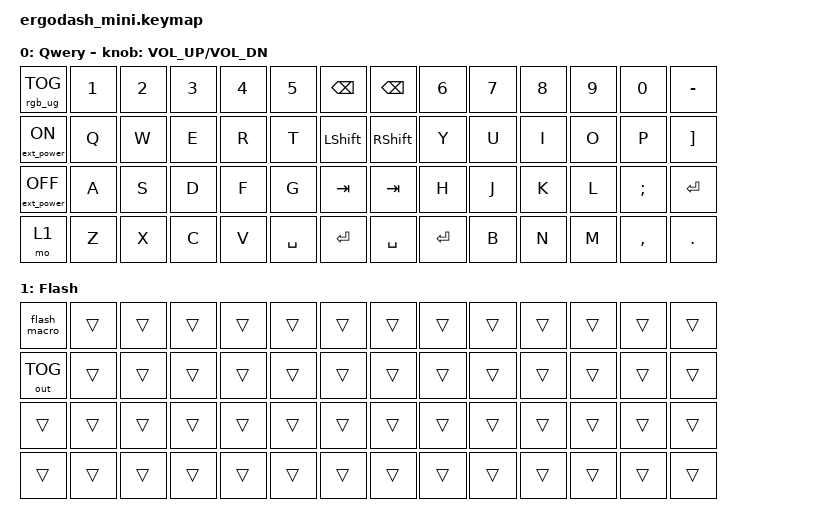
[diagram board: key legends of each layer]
#include <behaviors.dtsi>
#include <dt-bindings/zmk/ext_power.h>
#include <dt-bindings/zmk/keys.h>
#include <dt-bindings/zmk/rgb.h>
#include <dt-bindings/zmk/outputs.h>
/ {
    macros {
        flash_macro: flash_macro {
            compatible = "zmk,behavior-macro";
            #binding-cells = <0>;
            bindings = <&bootloader>;
        };

        layer_s: layer_s {
            label = "layer shift color";
            compatible = "zmk,behavior-macro";
            #binding-cells = <0>;
            wait-ms = <0>;
            tap-ms = <0>;
            bindings =
                <&macro_press>,
                <&kp LSHFT>,
                <&macro_tap>,
                <&rgb_ug RGB_COLOR_HSB(35,100,50)>,
                <&macro_pause_for_release>,
                <&macro_release>,
                <&kp LSHFT>,
                <&macro_tap>,
                <&rgb_ug RGB_COLOR_HSB(240,50,30)>;
        };

        layer_1: layer_1 {
            label = "layer 1";
            compatible = "zmk,behavior-macro";
            #binding-cells = <0>;
            wait-ms = <0>;
            tap-ms = <0>;
            bindings =
                <&macro_press>,
                <&lt 1 END>,
                <&macro_tap>,
                <&rgb_ug RGB_COLOR_HSB(300,100,50)>,
                <&macro_pause_for_release>,
                <&macro_release>,
                <&lt 1 END>,
                <&macro_tap>,
                <&rgb_ug RGB_COLOR_HSB(240,50,30)>;
        };

        layer_2: layer_2 {
            label = "layer 2";
            compatible = "zmk,behavior-macro";
            #binding-cells = <0>;
            wait-ms = <0>;
            tap-ms = <0>;
            bindings =
                <&macro_press>,
                <&mo 2>,
                <&macro_tap>,
                <&rgb_ug RGB_COLOR_HSB(175,100,50)>,
                <&macro_pause_for_release>,
                <&macro_release>,
                <&mo 2>,
                <&macro_tap>,
                <&rgb_ug RGB_COLOR_HSB(240,50,30)>;
        };

        layer_3: layer_3 {
            label = "layer 3";
            compatible = "zmk,behavior-macro";
            #binding-cells = <0>;
            wait-ms = <0>;
            tap-ms = <0>;
            bindings =
                <&macro_press>,
                <&lt 3 DEL>,
                <&macro_tap>,
                <&rgb_ug RGB_COLOR_HSB(0,100,50)>,
                <&macro_pause_for_release>,
                <&macro_release>,
                <&lt 3 DEL>,
                <&macro_tap>,
                <&rgb_ug RGB_COLOR_HSB(240,50,30)>;
        };
    };

    behaviors {
        hm: homerow_mods {
            compatible = "zmk,behavior-hold-tap";
            label = "HOMEROW_MODS";
            bindings = <&kp>, <&kp>;

            #binding-cells = <2>;
            tapping-term-ms = <200>;
            quick-tap-ms = <180>;
            flavor = "tap-preferred";
        };

        ltq: ltq {
            compatible = "zmk,behavior-hold-tap";
            label = "LTQ";
            bindings = <&mo>, <&kp>;

            #binding-cells = <2>;
            tapping-term-ms = <200>;
            quick-tap-ms = <180>;
        };

        as: auto_shift {
            compatible = "zmk,behavior-hold-tap";
            label = "AUTO_SHIFT";
            bindings = <&kp>, <&kp>;

            #binding-cells = <2>;
            tapping-term-ms = <135>;
            quick-tap-ms = <0>;
        };
    };

    keymap {
        compatible = "zmk,keymap";

        Qwery {
            bindings = <
&rgb_ug RGB_TOG    &kp N1  &kp N2  &kp N3  &kp N4  &kp N5     &kp BSPC   &kp BSPC   &kp N6     &kp N7  &kp N8  &kp N9  &kp N0     &kp MINUS
&ext_power EP_ON   &kp Q   &kp W   &kp E   &kp R   &kp T      &kp LSHFT  &kp RSHFT  &kp Y      &kp U   &kp I   &kp O   &kp P      &kp RBKT
&ext_power EP_OFF  &kp A   &kp S   &kp D   &kp F   &kp G      &kp TAB    &kp TAB    &kp H      &kp J   &kp K   &kp L   &kp SEMI   &kp ENTER
&mo 1              &kp Z   &kp X   &kp C   &kp V   &kp SPACE  &kp ENTER  &kp SPACE  &kp ENTER  &kp B   &kp N   &kp M   &kp COMMA  &kp DOT
            >;

            sensor-bindings = <&inc_dec_kp C_VOLUME_UP C_VOL_DN>;
            display-name = "Qwery";
        };

        Flash {
            bindings = <
&flash_macro  &trans  &trans  &trans  &trans  &trans  &trans  &trans  &trans  &trans  &trans  &trans  &trans  &trans
&out OUT_TOG        &trans  &trans  &trans  &trans  &trans  &trans  &trans  &trans  &trans  &trans  &trans  &trans  &trans
&trans        &trans  &trans  &trans  &trans  &trans  &trans  &trans  &trans  &trans  &trans  &trans  &trans  &trans
&trans        &trans  &trans  &trans  &trans  &trans  &trans  &trans  &trans  &trans  &trans  &trans  &trans  &trans
            >;

            display-name = "Flash";
        };
    };
};
